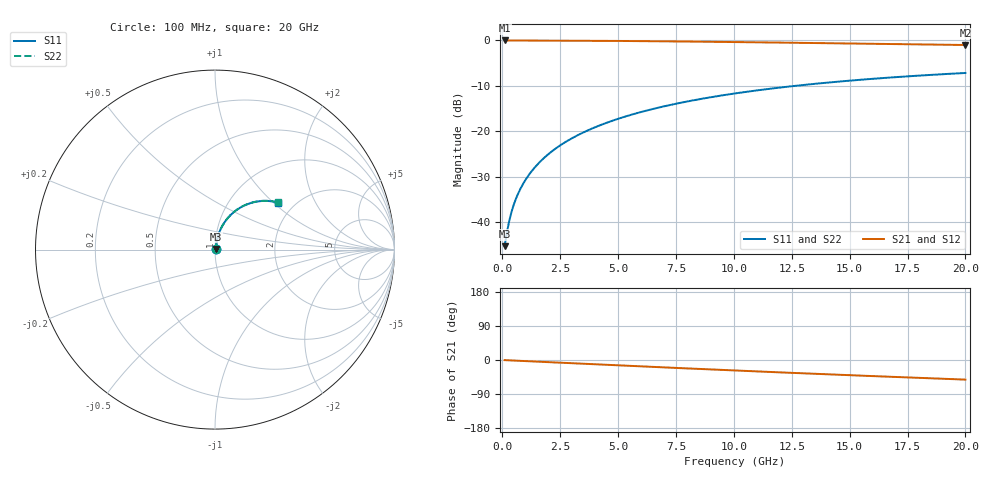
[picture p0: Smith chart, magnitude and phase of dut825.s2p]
! Touchstone file exported from HFSS 2026.1.0
!  File:  C:/ffzhzh/LocalFiles/Ansys_Project_Files/temp_train_TMRDL_825_1783156532_55132.aedt
!  Generated:  05:16:45 PM Jul  4, 2026
!  Design:  TMRDL
!  Project:  temp_train_TMRDL_825_1783156532_55132
! Variables:
!  h_bsmrdl = 2um
!  h_ox = 20um
!  h_rdl = 5um
!  h_sub = 80um
!  h_tmrdl = 2.43um
!  h_tsv = 80um
!  h_via = 3um
!  l_bsmrdl = 300um
!  l_sub = 1180.23um
!  l_tmrdl = 780.23um
!  m_sub = 200um
!  pitch = 54.41um
!  r_tsv = 6um
!  s_tmrdl = 10um
!  w_bsmrdl = 18um
!  w_sub = 500um
!  w_tmrdl = 26.9um
!  x_tsv_center1 = 793.68um
!  x_tsv_center2 = 1111.68um
!  x_tsv_center3 = 1918.81um
!  x_tsv_center4 = 2236.81um
!  x_tsv_center5 = 3043.94um
!  x_tsv_center6 = 3361.94um
# GHz S MA R 50.000000
! Terminal data exported
! Port[1] = TM_RDL1_1_T1
! Port[2] = TM_RDL1_1_T2
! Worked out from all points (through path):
!   200 points, 100 MHz to 20 GHz, reference 50 ohm
!   highest |S21| = -0.04 dB at 100 MHz (marker M1); lowest = -1.0 dB at 20 GHz (marker M2)
!   group delay of S21, straight-line fit = 7.2 ps
!   lowest |S11| = -45.2 dB at 100 MHz (marker M3), VSWR 1.01, Z = 50.5 + j0.315 ohm
!   |S11| at or under -10 dB: start of sweep to 12.66 GHz
!   |S22| runs from -45.2 to -7.2 dB; largest |S21 - S12| = 6.4e-15
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0.1  0.005494 34.6  0.9955 -0.3  0.9955 -0.3  0.005494 34.6
! Gamma 0 0 0 0
! Port Impedance 50 0 50 0
0.2  0.007781 52.4  0.9953 -0.6  0.9953 -0.6  0.007781 52.4
0.3  0.01042 61.0  0.995 -0.9  0.995 -0.9  0.01042 61.0
0.4  0.01312 65.8  0.9948 -1.2  0.9948 -1.2  0.01312 65.8
0.5  0.01581 68.8  0.9946 -1.5  0.9946 -1.5  0.01581 68.8
0.6  0.0185 70.9  0.9943 -1.8  0.9943 -1.8  0.0185 71.0
0.8  0.02388 73.8  0.994 -2.3  0.994 -2.3  0.02388 73.8
1.1  0.03197 76.1  0.9936 -3.2  0.9936 -3.2  0.03197 76.1
1.3  0.0374 76.9  0.9933 -3.7  0.9933 -3.7  0.0374 76.9
1.6  0.04557 77.6  0.9928 -4.6  0.9928 -4.6  0.04557 77.7
2.1  0.05923 77.9  0.992 -6.0  0.992 -6.0  0.05923 77.9
2.7  0.07562 77.4  0.9907 -7.7  0.9907 -7.7  0.07562 77.5
3.5  0.09734 76.2  0.9886 -9.9  0.9886 -9.9  0.09734 76.2
4.2  0.1162 74.7  0.9864 -11.9  0.9864 -11.9  0.1161 74.8
5  0.1374 72.9  0.9834 -14.1  0.9834 -14.1  0.1374 73.0
5.9  0.1608 70.8  0.9796 -16.6  0.9796 -16.6  0.1608 70.8
6.8  0.1837 68.5  0.9752 -19.0  0.9752 -19.0  0.1836 68.6
8.3  0.2204 64.7  0.967 -23.0  0.967 -23.0  0.2204 64.8
10.1  0.2621 60.2  0.956 -27.8  0.956 -27.8  0.2621 60.3
13.4  0.3308 52.0  0.9335 -36.2  0.9335 -36.2  0.3308 52.2
16.7  0.3893 44.2  0.9101 -44.1  0.9101 -44.1  0.3892 44.4
20  0.4376 36.7  0.8877 -51.7  0.8877 -51.7  0.4375 36.9
